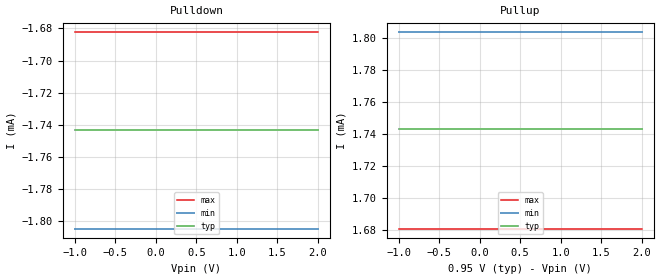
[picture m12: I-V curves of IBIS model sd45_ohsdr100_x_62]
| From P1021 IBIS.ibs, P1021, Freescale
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[Model]   sd45_ohsdr100_x_62
Model_type 3-state
Enable Active-High
Polarity Non-Inverting
|   TYP   MIN   MAX
C_comp   0.00pF   0.00pF   0.00pF
[Model Spec]
Vmeas   0.475   0.425   0.605
[Temperature Range] 65   125   -40
[Voltage Range]   0.95   0.85   1.21
[Pullup]
|   Vout(V)   TYP   WCS   BCS
-1V       1.743mA    1.803mA    1.681mA
2V        1.743mA    1.803mA    1.681mA
[Pulldown]
|   Vout(V)   TYP   WCS   BCS
-1V       -1.743mA   -1.805mA   -1.682mA
2V        -1.743mA   -1.805mA   -1.682mA
[GND Clamp]
|   Vout(V)   TYP   WCS   BCS
-1V       0A         0A         0A
1V        0A         0A         0A
[POWER Clamp]
|   Vout(V)   TYP   WCS   BCS
-1V       0A         0A         0A
0V        0A         0A         0A
[Ramp]
R_load=50
dV/dt_r  1.4958e-01/6.4236e-11  1.3455e-01/6.5371e-11  1.9119e-01/6.5914e-11
dV/dt_f  1.4958e-01/6.5678e-11  1.3454e-01/6.7506e-11  1.9120e-01/6.6813e-11
|[End   sd45_ohsdr100_x_62
